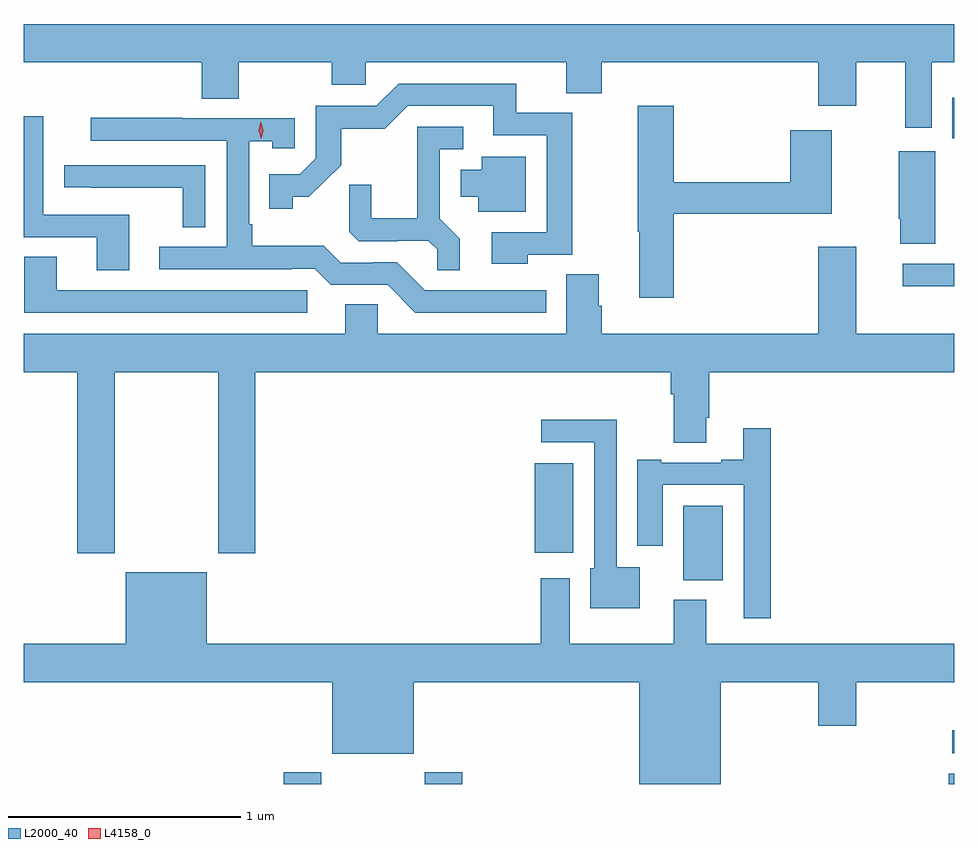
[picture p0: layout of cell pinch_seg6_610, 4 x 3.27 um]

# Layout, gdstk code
import gdstk
lib = gdstk.Library(unit=1e-6, precision=1e-09)
def R(c, l, rs):  # rectangles x0, y0, x1, y1
    for r in rs: c.add(gdstk.rectangle(r[:2], r[2:], *l))
def P(c, l, *ps):  # polygons
    for p in ps: c.add(gdstk.Polygon(p, *l))
L2000_40 = (2000, 40)
L4158_0 = (4158, 0)

pinch_seg6_610 = lib.new_cell('pinch_seg6_610')
R(pinch_seg6_610, L2000_40, [(450.425,968.21,450.585,968.26), (451.03,968.21,451.19,968.26), (453.281,968.21,453.306,968.254), (453.297,968.343,453.306,968.441), (452.141,969.086,452.311,969.406), (451.502,969.203,451.669,969.589), (453.084,970.349,453.306,970.446), (453.296,970.986,453.306,971.158)])
P(pinch_seg6_610, L2000_40, [(453.208,971.312),(453.306,971.312),(453.306,971.476),(449.306,971.476),(449.306,971.312),(450.071,971.312),(450.071,971.155),(450.231,971.155),(450.231,971.312),(450.631,971.312),(450.631,971.214),(450.777,971.214),(450.777,971.312),(451.637,971.312),(451.637,971.179),(451.79,971.179),(451.79,971.312),(452.72,971.312),(452.72,971.124),(452.884,971.124),(452.884,971.312),(453.095,971.312),(453.095,971.031),(453.208,971.031)],
  [(451.473,970.485),(451.663,970.485),(451.663,971.094),(451.424,971.094),(451.424,971.22),(450.918,971.22),(450.822,971.124),(450.561,971.124),(450.561,970.899),(450.492,970.83),(450.361,970.83),(450.361,970.683),(450.462,970.683),(450.462,970.733),(450.532,970.733),(450.67,970.87),(450.67,971.026),(450.859,971.026),(450.957,971.124),(451.325,971.124),(451.325,970.998),(451.554,970.998),(451.554,970.581),(451.317,970.581),(451.317,970.445),(451.473,970.445)],
  [(452.099,970.66),(452.778,970.66),(452.778,971.02),(452.6,971.02),(452.6,970.796),(452.099,970.796),(452.099,971.125),(451.945,971.125),(451.945,970.583),(451.952,970.583),(451.952,970.299),(452.099,970.299)],
  [(449.761,970.656),(449.391,970.656),(449.391,971.08),(449.306,971.08),(449.306,970.56),(449.621,970.56),(449.621,970.417),(449.761,970.417)],
  [(451.552,970.332),(451.029,970.332),(450.909,970.452),(450.808,970.452),(450.808,970.449),(450.669,970.449),(450.596,970.522),(450.289,970.522),(450.289,970.615),(450.276,970.615),(450.276,970.973),(450.375,970.973),(450.375,970.941),(450.471,970.941),(450.471,971.07),(449.987,971.07),(449.987,971.073),(449.595,971.073),(449.595,970.974),(450.18,970.974),(450.18,970.518),(449.889,970.518),(449.889,970.422),(450.458,970.422),(450.458,970.425),(450.558,970.425),(450.627,970.356),(450.87,970.356),(450.99,970.236),(451.552,970.236)],
  [(451.181,970.553),(451.095,970.639),(451.095,970.938),(451.195,970.938),(451.195,971.034),(450.998,971.034),(450.998,970.642),(450.8,970.642),(450.8,970.785),(450.706,970.785),(450.706,970.583),(450.747,970.542),(450.912,970.542),(450.912,970.545),(451.046,970.545),(451.083,970.508),(451.083,970.417),(451.181,970.417)],
  [(453.223,970.93),(453.067,970.93),(453.067,970.639),(453.074,970.639),(453.074,970.531),(453.223,970.531)],
  [(451.465,970.906),(451.274,970.906),(451.274,970.849),(451.184,970.849),(451.184,970.733),(451.259,970.733),(451.259,970.67),(451.465,970.67)],
  [(450.087,970.869),(449.481,970.869),(449.481,970.774),(449.593,970.774),(449.593,970.773),(449.989,970.773),(449.989,970.603),(450.087,970.603)],
  [(449.697,969.98),(450.142,969.98),(450.142,969.201),(450.302,969.201),(450.302,969.98),(452.087,969.98),(452.087,969.884),(452.099,969.884),(452.099,969.676),(452.239,969.676),(452.239,969.784),(452.252,969.784),(452.252,969.98),(453.306,969.98),(453.306,970.144),(452.884,970.144),(452.884,970.519),(452.72,970.519),(452.72,970.144),(451.79,970.144),(451.79,970.266),(451.777,970.266),(451.777,970.4),(451.637,970.4),(451.637,970.144),(450.828,970.144),(450.828,970.271),(450.689,970.271),(450.689,970.144),(449.306,970.144),(449.306,969.98),(449.537,969.98),(449.537,969.201),(449.697,969.201)],
  [(450.526,970.332),(449.449,970.332),(449.449,970.475),(449.309,970.475),(449.309,970.236),(450.526,970.236)],
  [(451.954,969.142),(451.854,969.142),(451.854,969.776),(451.53,969.776),(451.53,969.678),(451.758,969.678),(451.758,969.138),(451.742,969.138),(451.742,968.966),(451.954,968.966)],
  [(452.516,969.739),(452.399,969.739),(452.399,969.604),(452.303,969.604),(452.303,969.591),(452.047,969.591),(452.047,969.604),(451.943,969.604),(451.943,969.234),(452.053,969.234),(452.053,969.495),(452.4,969.495),(452.4,968.922),(452.516,968.922)],
  [(452.302,968.648),(452.72,968.648),(452.72,968.46),(452.884,968.46),(452.884,968.648),(453.306,968.648),(453.306,968.812),(452.239,968.812),(452.239,969.001),(452.099,969.001),(452.099,968.812),(451.654,968.812),(451.654,969.094),(451.529,969.094),(451.529,968.812),(450.094,968.812),(450.094,969.121),(449.744,969.121),(449.744,968.812),(449.306,968.812),(449.306,968.648),(450.632,968.648),(450.632,968.339),(450.982,968.339),(450.982,968.648),(451.952,968.648),(451.952,968.21),(452.302,968.21)])
P(pinch_seg6_610, L4158_0, [(450.327,970.982),(450.327,970.983),(450.316,971.018),(450.326,971.055),(450.326,971.055),(450.326,971.055),(450.336,971.019),(450.327,970.983)])

lib.write_gds('pinch_seg6_610.gds')
